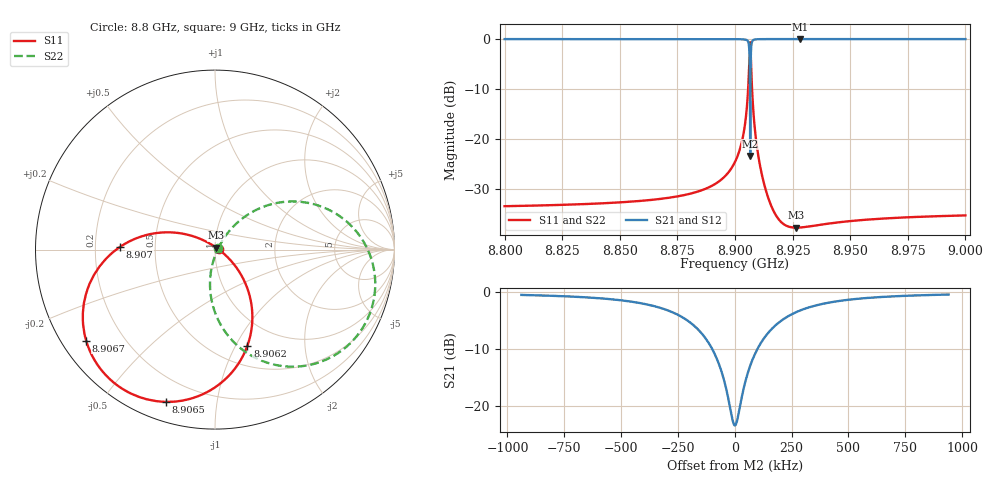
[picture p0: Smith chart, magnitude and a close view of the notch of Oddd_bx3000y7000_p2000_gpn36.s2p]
! Sonnet Data File
! From: emgraph Version : 16.52
! From Project: Resonator2_cp
! Data is De-embedded
! Data File Written: 10/06/2017 09:05:50
!< HDATE 10/05/2017 15:28:06
!< MDATE 10/05/2017 15:28:06
!< PARAMS
!< gap = 36.0
!< Length = 400.0
!< Pwid1 = 2000.0
!< Pwid2 = 2000.0
!< END PARAMS
# GHZ S MA R 35.97000
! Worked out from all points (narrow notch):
!   1595 points, 8.8 GHz to 9 GHz, reference 35.97 ohm
!   highest |S21| = 0.00 dB at 8.9284 GHz (marker M1); lowest = -23.4 dB at 8.9066 GHz (marker M2)
!   notch at M2: 23.4 dB deep, 158 kHz wide at half that depth
!   lowest |S11| = -37.8 dB at 8.9266 GHz (marker M3), VSWR 1.03, Z = 36.5 + j0.767 ohm
!   |S11| at or under -10 dB: start of sweep to 8.9057 GHz; 8.9074 GHz to end of sweep
!   |S22| runs from -37.8 to -0.6 dB; largest |S21 - S12| = 0
!   S11 on the Smith chart (normalised r, x): 8.8 GHz: 1.04, +0.00; 8.9062 GHz: 0.71, -1.12; 8.9065 GHz: 0.09, -0.72; 8.9067 GHz: 0.07, -0.32; 8.907 GHz: 0.31, +0.01; 9 GHz: 1.03, +0.01
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8.8  0.02107 2.3  0.9998 -74.7  0.9998 -74.7  0.02108 28.3
!< P1 F=8.8 Eeff=(5.36817953 -2.3731e-5) Z0=(35.9853883 8.0522e-5) R=0.0 C=0.0
!< P2 F=8.8 Eeff=(5.36817953 -2.3731e-5) Z0=(35.9853883 8.0522e-5) R=0.0 C=0.0
8.8334  0.02208 0.0  0.9998 -75.0  0.9998 -75.0  0.02208 29.9
8.8668  0.02482 -4.9  0.9997 -75.5  0.9997 -75.5  0.02483 33.9
8.889  0.03288 -13.8  0.9994 -76.2  0.9994 -76.2  0.0329 41.3
8.9  0.05859 -25.9  0.9981 -77.8  0.9981 -77.8  0.05865 50.0
8.904183  0.1317 -37.6  0.9903 -82.1  0.9903 -82.1  0.1319 52.5
8.905581  0.283 -50.3  0.9536 -91.1  0.9536 -91.1  0.2835 45.9
8.906179  0.5656 -71.4  0.7969 -109.1  0.7969 -109.1  0.5667 27.7
8.906384  0.7789 -91.3  0.5535 -125.5  0.5535 -125.5  0.7803 8.8
8.906493  0.8916 -107.9  0.2997 -135.3  0.2997 -135.3  0.8932 -7.3
8.906586  0.9319 -125.1  0.06728 -76.1  0.06728 -76.1  0.9336 -23.9
8.906693  0.8786 -144.8  0.3373 -14.9  0.3373 -14.9  0.8803 -43.1
8.907018  0.5301 178.4  0.8222 -42.6  0.8222 -42.6  0.5311 -78.1
8.9076  0.2561 158.1  0.9611 -59.8  0.9611 -59.8  0.2566 -95.2
8.909021  0.1027 144.0  0.9937 -68.8  0.9937 -68.8  0.103 -100.5
8.913004  0.03271 123.6  0.9993 -73.0  0.9993 -73.0  0.03282 -89.1
8.919  0.01552 89.5  0.9998 -74.2  0.9998 -74.2  0.01558 -57.8
8.9266  0.01284 54.9  0.9999 -74.8  0.9999 -74.8  0.01287 -24.4
8.9284  0.01289 49.6  0.9999 -74.9  0.9999 -74.9  0.01291 -19.3
8.9334  0.01333 38.9  0.9999 -75.1  0.9999 -75.1  0.01334 -9.0
8.9668  0.01597 17.4  0.9999 -75.7  0.9999 -75.7  0.01597 11.3
9  0.01704 12.3  0.9999 -76.1  0.9999 -76.1  0.01704 15.5
